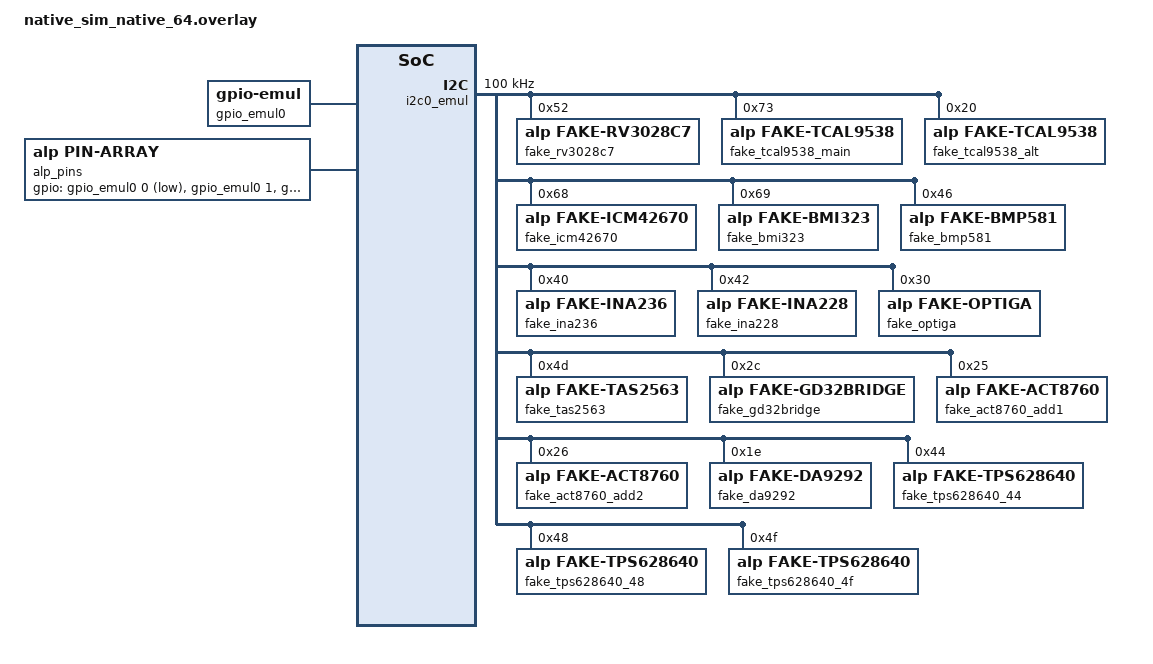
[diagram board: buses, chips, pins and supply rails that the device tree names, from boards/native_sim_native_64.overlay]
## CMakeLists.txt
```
# SPDX-License-Identifier: Apache-2.0

cmake_minimum_required(VERSION 3.20)

find_package(Zephyr REQUIRED HINTS $ENV{ZEPHYR_BASE})
project(alp_sdk_chips_test LANGUAGES C)

# da9292_internal.h (chips/da9292/) is deliberately NOT installed / not
# part of <alp/chips/da9292.h>'s public surface -- it exists only so
# test_power.c can directly exercise da9292_poll_budget_step(), the
# #757 poll-budget boundary logic the I2C test double's address-keyed
# (not per-register) canned-response model can't reach end-to-end.
#
# bme280_internal.h (chips/bme280/) is the same pattern -- it exists
# only so test_sensors.c can directly exercise bme280_unpack_h4_h5(),
# the #797 H4/H5 shared-nibble unpack the disabled i2c-emul fake can't
# reach (see the fake-fixtures note below).
#
# bmp581_verdict.h (examples/aen/aen-evk-demo/src/) is the pure BMP581
# health-verdict logic pulled out of that example's main.c (#2035) so
# test_sensors.c can exercise it here -- main.c itself only builds
# against the real E1M-AEN801 board target.
#
# cc3501e_link_verdict.h (examples/aen/aen-evk-demo/src/) is the same
# example's GET_VERSION link verdict, pulled out for the same reason
# (#2035) so test_cc3501e.c can exercise it here.
#
# sound_verdict.h (examples/aen/aen-evk-demo/src/) is the same example's
# Phase 11 sound-out/PDM-in energy-correlation verdict, pulled out for the
# same reason (#2037) so test_sound_verdict.c can exercise it here.
#
# ioexp_verdict.h (examples/aen/aen-evk-demo/src/) is the same example's
# Phase 4 I/O-expander polarity round-trip verdict, pulled out for the
# same reason (#2098 review follow-up) so test_ioexp_verdict.c can
# exercise it here.
#
# amp_fault_verdict.h (examples/aen/aen-evk-demo/src/) is the same
# example's Phase 11 AMP_FAULT raw-pin mapping, pulled out for the same
# reason (#2097 review follow-up) so test_audio.c can exercise it here.
#
# range_policy.h (examples/v2n/v2n-power-monitor/src/) is that example's
# INA228 auto-range decision, a pure function kept in a header so
# test_ina228.c can exercise it here without the Linux-only example main.c.
#
# hw_rev_verdict.h (examples/aen/aen-evk-demo/src/) is the same example's
# Phase 11 r1/r2 IO8-safety gate, pulled out for the same reason (#2138) so
# test_hw_rev_verdict.c can exercise it here against
# alp_hw_info_classify_manifest() (hw_info_manifest.h, already reachable
# app-wide via zephyr/CMakeLists.txt's zephyr_include_directories(src/common)
# -- the same internal header tests/zephyr/hw_info/src/main.c uses).
target_include_directories(app PRIVATE
    ${CMAKE_CURRENT_SOURCE_DIR}/../../../chips/da9292
    ${CMAKE_CURRENT_SOURCE_DIR}/../../../chips/bme280
    ${CMAKE_CURRENT_SOURCE_DIR}/../../../examples/aen/aen-evk-demo/src
    ${CMAKE_CURRENT_SOURCE_DIR}/../../../examples/v2n/v2n-power-monitor/src)

target_sources(app PRIVATE
    src/main.c
    src/test_accelerators.c
    src/test_audio.c
    src/test_blocks.c
    src/test_cameras.c
    src/test_cc3501e.c
    src/test_connectivity.c
    src/test_core_surfaces.c
    src/test_displays.c
    src/test_gd32_bridge.c
    src/test_industrial.c
    src/test_industrial_drivers.c
    src/test_platform_ics.c
    src/test_rv3028c7_wake.c
    src/test_ina228.c
    src/test_power.c
    src/test_security.c
    src/test_sensors.c
    src/test_sound_verdict.c
    src/test_ioexp_verdict.c
    src/test_hw_rev_verdict.c
)

# Fake i2c-emul fixtures (fake_lsm6dso / fake_ssd1306 / fake_bme280)
# are compiled out by maintainer decision (commit 4b0b33d5): driver
# register-protocol validation happens on real silicon via
# examples/v2n/v2n-brd-i2c-bringup, not against these doubles (see
# CHANGELOG.md, "Removed -- chips: fake-based register tests"). The
# fake-using ZTESTs stay in tree but are gated on
# DT_NODE_EXISTS(DT_NODELABEL(fake_lsm6dso)) so they compile to
# no-ops while the fake_* nodes below stay commented out.
#
# target_sources(app PRIVATE
#     src/fake_lsm6dso.c
#     src/fake_ssd1306.c
#     src/fake_bme280.c
# )

# Fake i2c-emul fixtures for the 2026-09 chip-driver session's new
# register-protocol coverage -- these stay ACTIVE (their overlay DT
# nodes are NOT commented out): there is no real-silicon substitute
# test for rv3028c7 / tcal9538 / icm42670 / bmi323 / bmp581 / ina236 /
# tas2563 yet, unlike the three chips retired above, and the act8760 /
# da9292 / tps628640 fakes guard the PMIC write paths (a wrong write
# there can drop a live rail).  Do not fold these into the dormant
# block above -- see each fake_*.c file header for the
# protocol it models.
target_sources(app PRIVATE
    src/fake_rv3028c7.c
    src/fake_tcal9538.c
    src/fake_icm42670.c
    src/fake_bmi323.c
    src/fake_bmp581.c
    src/fake_ina236.c
    src/fake_ina228.c
    src/fake_optiga.c
    src/fake_tas2563.c
    src/fake_gd32bridge.c
    src/fake_act8760.c
    src/fake_da9292.c
    src/fake_tps628640.c
)

# test_industrial_drivers.c intercepts the GPIO/PWM/SPI calls the motor and
# thermocouple drivers make so it can assert their order and values.
zephyr_link_libraries(
    -Wl,--wrap=alp_gpio_write
    -Wl,--wrap=alp_pwm_set_duty
    -Wl,--wrap=alp_spi_transceive)
```

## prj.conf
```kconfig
# SPDX-License-Identifier: Apache-2.0

CONFIG_ZTEST=y
CONFIG_ALP_SDK=y

# Chip drivers under test — every chip that ships a *_init in main.c
# must be enabled here, otherwise the native_sim link fails with
# "undefined reference to <chip>_init".  Order roughly matches the
# §D batches in src/main.c so it's easy to keep in sync.

# v0.1..v0.4 baseline chips.
CONFIG_ALP_SDK_CHIP_LSM6DSO=y
CONFIG_ALP_SDK_CHIP_SSD1306=y
CONFIG_ALP_SDK_BLOCK_BUTTON_LED=y  # SDK-level block helper (alp_*); see blocks/README.md
CONFIG_ALP_SDK_CHIP_BME280=y
CONFIG_ALP_SDK_CHIP_LIS2DW12=y
CONFIG_ALP_SDK_CHIP_SSD1331=y
CONFIG_ALP_SDK_CHIP_OV5640=y
CONFIG_ALP_SDK_BLOCK_PDM_MIC=y  # SDK-level block helper (alp_*); see blocks/README.md
CONFIG_ALP_SDK_CHIP_ICM42670=y
CONFIG_ALP_SDK_CHIP_BMI323=y
CONFIG_ALP_SDK_CHIP_BMP581=y
CONFIG_ALP_SDK_CHIP_GD32G553=y
CONFIG_ALP_SDK_CHIP_RTL8211FDI=y
CONFIG_ALP_SDK_CHIP_CLK_5L35023B=y
CONFIG_ALP_SDK_CHIP_MURATA_LBEE5HY2FY=y
CONFIG_ALP_SDK_CHIP_DEEPX_DXM1=y
CONFIG_ALP_SDK_CHIP_PI3DBS12212=y
CONFIG_ALP_SDK_CHIP_GD32_SWD=y
CONFIG_ALP_SDK_CHIP_ACT8760=y
CONFIG_ALP_SDK_CHIP_DA9292=y
CONFIG_ALP_SDK_CHIP_TPS628640=y
CONFIG_ALP_SDK_CHIP_RV3028C7=y
CONFIG_ALP_SDK_CHIP_TMP112=y
CONFIG_ALP_SDK_CHIP_INA236=y
CONFIG_ALP_SDK_CHIP_INA228=y
CONFIG_ALP_SDK_CHIP_EEPROM_24C128=y
CONFIG_ALP_SDK_CHIP_TCAL9538=y
CONFIG_ALP_SDK_CHIP_OPTIGA_TRUST_M=y
CONFIG_ALP_SDK_CHIP_CAM_MUX_PI3WVR626=y
CONFIG_ALP_SDK_CHIP_CC3501E=y
CONFIG_ALP_SDK_CHIP_TAS2563=y

# v0.5 §D.AI batch — vision / display / accelerator chips.
CONFIG_ALP_SDK_CHIP_OV2640=y
CONFIG_ALP_SDK_CHIP_OV5645=y
CONFIG_ALP_SDK_CHIP_OV7670=y
CONFIG_ALP_SDK_CHIP_OV9281=y
CONFIG_ALP_SDK_CHIP_AR0234=y
CONFIG_ALP_SDK_CHIP_IMX219=y
CONFIG_ALP_SDK_CHIP_IMX477=y
CONFIG_ALP_SDK_CHIP_GC2145=y
CONFIG_ALP_SDK_CHIP_TI_DS90UB953_954=y
CONFIG_ALP_SDK_CHIP_MAXIM_MAX9295_9296=y
CONFIG_ALP_SDK_CHIP_ST7789=y
CONFIG_ALP_SDK_CHIP_ILI9341=y
CONFIG_ALP_SDK_CHIP_ILI9488=y
CONFIG_ALP_SDK_CHIP_RA8875=y
CONFIG_ALP_SDK_CHIP_SH1106=y
CONFIG_ALP_SDK_CHIP_IL3820=y
CONFIG_ALP_SDK_CHIP_GDEW0154T8=y
CONFIG_ALP_SDK_CHIP_HAILO_8L=y

# v0.5 §D.industrial batch — industrial sensing / control chips.
CONFIG_ALP_SDK_CHIP_BMP390=y
CONFIG_ALP_SDK_CHIP_MS5611=y
CONFIG_ALP_SDK_CHIP_LPS22HB=y
CONFIG_ALP_SDK_CHIP_VL53L1X=y
CONFIG_ALP_SDK_CHIP_VL53L5CX=y
CONFIG_ALP_SDK_CHIP_A02YYUW=y
CONFIG_ALP_SDK_CHIP_DRV8833=y
CONFIG_ALP_SDK_CHIP_DRV8825=y
CONFIG_ALP_SDK_CHIP_TMC2209=y
CONFIG_ALP_SDK_CHIP_A4988=y
CONFIG_ALP_SDK_CHIP_AS5048A_B=y
CONFIG_ALP_SDK_CHIP_MT6701=y
CONFIG_ALP_SDK_CHIP_HX711=y
CONFIG_ALP_SDK_CHIP_MAX31855=y
CONFIG_ALP_SDK_CHIP_MAX31865=y
CONFIG_ALP_SDK_CHIP_TSL2591=y
CONFIG_ALP_SDK_CHIP_QMC5883L=y
CONFIG_ALP_SDK_CHIP_VEML7700=y

# v0.5 §D.iot batch — IoT / connectivity chips.
CONFIG_ALP_SDK_CHIP_QUECTEL_BG95=y
CONFIG_ALP_SDK_CHIP_QUECTEL_BG77=y
CONFIG_ALP_SDK_CHIP_UBLOX_SARA_R5=y
CONFIG_ALP_SDK_CHIP_SEMTECH_SX1262=y
CONFIG_ALP_SDK_CHIP_SEMTECH_SX1276=y
CONFIG_ALP_SDK_CHIP_UBLOX_NEO_M9N=y
CONFIG_ALP_SDK_CHIP_UBLOX_MAX_M10S=y
CONFIG_ALP_SDK_CHIP_ATGM336H=y
CONFIG_ALP_SDK_CHIP_ATECC608B=y

# v0.5 §D.audio batch — audio chips.
CONFIG_ALP_SDK_CHIP_ICS_43434=y
CONFIG_ALP_SDK_CHIP_INMP441=y
CONFIG_ALP_SDK_CHIP_WM8960=y
CONFIG_ALP_SDK_CHIP_TLV320AIC3204=y
CONFIG_ALP_SDK_CHIP_MAX98357A=y
CONFIG_ALP_SDK_CHIP_ES8388=y

# Subsystems the chip drivers depend on transitively via
# <alp/peripheral.h> + <alp/uart.h> + <alp/pwm.h>.
CONFIG_GPIO=y
CONFIG_I2C=y
CONFIG_SPI=y
CONFIG_SERIAL=y       # UART-backed cellular / GPS / motor-driver chips
CONFIG_PWM=y          # motor-driver chips (a4988, drv8825, drv8833)

# Emulated controllers — let the test run under native_sim.
CONFIG_EMUL=y
CONFIG_GPIO_EMUL=y
CONFIG_I2C_EMUL=y
CONFIG_SPI_EMUL=y

CONFIG_LOG=y
```

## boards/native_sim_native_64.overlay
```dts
/*
 * Copyright 2026 Alp Lab AB
 * SPDX-License-Identifier: Apache-2.0
 *
 * Overlay for the alp-sdk chips ztest under native_sim_64.
 *
 * Wires one emulated I2C bus (alp_i2c0) for the lsm6dso / ssd1306
 * smoke tests, and an emulated GPIO controller backing two pins
 * for the button_led helper.
 */

#include <zephyr/dt-bindings/gpio/gpio.h>
#include <zephyr/dt-bindings/i2c/i2c.h>

/ {
    aliases {
        alp-i2c0  = &i2c0_emul;
    };

    /* native_sim's /soc has #address-cells=2, #size-cells=1. */
    soc {
        i2c0_emul: i2c@100 {
            compatible = "zephyr,i2c-emul-controller";
            status = "okay";
            reg = <0 0x100 4>;
            #address-cells = <1>;
            #size-cells = <0>;
            clock-frequency = <I2C_BITRATE_STANDARD>;

            /* Fake i2c-emul targets at chip-default addresses stay
             * commented out by maintainer decision (commit 4b0b33d5):
             * chip register-protocol validation happens on real
             * silicon via examples/v2n/v2n-brd-i2c-bringup, not against
             * these doubles (see CHANGELOG.md, "Removed -- chips:
             * fake-based register tests").  The fake-using ZTESTs are
             * gated on DT_NODE_EXISTS so they no-op cleanly while the
             * fake_* nodes below stay commented out.
             *
             * fake_lsm6dso: fake_lsm6dso@6a {
             *     compatible = "alp,fake-lsm6dso";
             *     reg = <0x6a>;
             * };
             * fake_ssd1306: fake_ssd1306@3c {
             *     compatible = "alp,fake-ssd1306";
             *     reg = <0x3c>;
             * };
             * fake_bme280: fake_bme280@76 {
             *     compatible = "alp,fake-bme280";
             *     reg = <0x76>;
             * };
             */

            /* Fake targets for the 2026-09 chip-driver session's new
             * register-protocol coverage (rv3028c7, tcal9538,
             * icm42670, bmi323, bmp581, ina236, tas2563) -- unlike the
             * lsm6dso/ssd1306/bme280 fakes above, these stay ACTIVE:
             * there is no real-silicon substitute test for these
             * functions yet (see tests/zephyr/chips/src/fake_*.c file
             * headers). */
            fake_rv3028c7: fake_rv3028c7@52 {
                compatible = "alp,fake-rv3028c7";
                reg = <0x52>;
            };
            fake_tcal9538_main: fake_tcal9538_main@73 {
                compatible = "alp,fake-tcal9538";
                reg = <0x73>;
            };
            fake_tcal9538_alt: fake_tcal9538_alt@20 {
                compatible = "alp,fake-tcal9538";
                reg = <0x20>;
            };
            fake_icm42670: fake_icm42670@68 {
                compatible = "alp,fake-icm42670";
                reg = <0x68>;
            };
            fake_bmi323: fake_bmi323@69 {
                compatible = "alp,fake-bmi323";
                reg = <0x69>;
            };
            fake_bmp581: fake_bmp581@46 {
                compatible = "alp,fake-bmp581";
                reg = <0x46>;
            };
            fake_ina236: fake_ina236@40 {
                compatible = "alp,fake-ina236";
                reg = <0x40>;
            };
            /* 0x42 = the E1M-X EVK's INA228 (A1 = GND, A0 = SDA). */
            fake_ina228: fake_ina228@42 {
                compatible = "alp,fake-ina228";
                reg = <0x42>;
            };
            /* 0x30 = OPTIGA Trust M default address; NACKs while asleep. */
            fake_optiga: fake_optiga@30 {
                compatible = "alp,fake-optiga";
                reg = <0x30>;
            };
            /* 0x4D = the AD0/SPICLK "10k to GND" strap (SLASET3D
             * Table 7-3, p.30), which is U27 on the E1M-X EVK.  One
             * instance is enough: nothing this driver does is
             * per-instance stateful across two amps. */
            fake_tas2563: fake_tas2563@4d {
                compatible = "alp,fake-tas2563";
                reg = <0x4d>;
            };
            /* GD32G553 supervisor-MCU bridge fake -- PING/GET_VERSION
             * only, driving gd32g553_init()'s OTA-trial retry ladder
             * (chips/gd32g553/gd32g553.c). */
            fake_gd32bridge: fake_gd32bridge@2c {
                compatible = "alp,fake-gd32bridge";
                reg = <0x2c>;
            };
            /* V2N power tree (BRD_I2C on silicon): ACT88760 ADD1/ADD2
             * share one register image; DA9292 at its OTP address; the
             * V2N-M1 TPS628640 bucks except 0x4D (fake_tas2563 above
             * holds it). */
            fake_act8760_add1: fake_act8760@25 {
                compatible = "alp,fake-act8760";
                reg = <0x25>;
            };
            fake_act8760_add2: fake_act8760@26 {
                compatible = "alp,fake-act8760";
                reg = <0x26>;
            };
            fake_da9292: fake_da9292@1e {
                compatible = "alp,fake-da9292";
                reg = <0x1e>;
            };
            fake_tps628640_44: fake_tps628640@44 {
                compatible = "alp,fake-tps628640";
                reg = <0x44>;
            };
            fake_tps628640_48: fake_tps628640@48 {
                compatible = "alp,fake-tps628640";
                reg = <0x48>;
            };
            fake_tps628640_4f: fake_tps628640@4f {
                compatible = "alp,fake-tps628640";
                reg = <0x4f>;
            };
        };
    };

    gpio_emul0: gpio_emul0 {
        compatible = "zephyr,gpio-emul";
        status = "okay";
        gpio-controller;
        rising-edge;
        falling-edge;
        #gpio-cells = <2>;
        ngpios = <8>;
    };

    /* Pin ids passed to alp_gpio_open(): 0 = button (with pull-up),
     * 1 = LED, 2 = TAS2563 IRQ_N (AMP.FAULT), 3 = TAS2563 SD_N
     * (AMP.ENABLE).  Pins 2 and 3 are declared ACTIVE_HIGH so the
     * test drives raw levels and the DRIVER owns the active-low
     * interpretation of IRQ_N -- inverting in the overlay instead
     * would hide exactly the polarity bug the test is there to
     * catch.  Pins 4..6 = the DA9292 CH2 sequence's DEEPX_PWR_EN_REQ
     * (P65, input), DEEPX_CORE_0P75_EN (P64) and M1_RESET (PA6). */
    alp_pins: alp-pins {
        compatible = "alp,pin-array";
        gpios = <&gpio_emul0 0 (GPIO_ACTIVE_LOW | GPIO_PULL_UP)>,
                <&gpio_emul0 1 GPIO_ACTIVE_HIGH>,
                <&gpio_emul0 2 GPIO_ACTIVE_HIGH>,
                <&gpio_emul0 3 GPIO_ACTIVE_HIGH>,
                <&gpio_emul0 4 GPIO_ACTIVE_HIGH>,
                <&gpio_emul0 5 GPIO_ACTIVE_HIGH>,
                <&gpio_emul0 6 GPIO_ACTIVE_HIGH>;
    };
};
```

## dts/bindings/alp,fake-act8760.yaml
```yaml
# Copyright 2026 Alp Lab AB
# SPDX-License-Identifier: Apache-2.0
#
# Fake ACT8760 emul target.  Lives in this test only.

description: |
  Fake Qorvo ACT88760 i2c-emul target used by the alp-sdk chips ztest.
  Two instances (ADD1 0x25, ADD2 0x26) share one two-page register
  image so the ztest can assert the driver's guarded write paths.

compatible: "alp,fake-act8760"

include: i2c-device.yaml
```

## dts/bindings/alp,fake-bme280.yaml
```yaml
# Copyright 2026 Alp Lab AB
# SPDX-License-Identifier: Apache-2.0
#
# Fake BME280 emul target.  Lives in this test only.

description: |
  Fake Bosch BME280 i2c-emul target used by the alp-sdk chips
  ztest.  Pre-populates CHIP_ID = 0x60, a synthetic calibration
  block, and a fixed raw conversion result so the test can
  exercise bme280_read_raw and bme280_compensate without a real
  chip.

compatible: "alp,fake-bme280"

include: i2c-device.yaml
```

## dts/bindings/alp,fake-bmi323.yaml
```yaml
# Copyright 2026 Alp Lab AB
# SPDX-License-Identifier: Apache-2.0
#
# Fake BMI323 emul target.  Lives in this test only.

description: |
  Fake Bosch BMI323 i2c-emul target used by the alp-sdk chips ztest.
  Models the part's 16-bit-per-register, 2-dummy-byte-read wire
  protocol; pre-populates CHIP_ID (register 0x00, low byte) = 0x43
  so bmi323_init()'s soft-reset + ID probe succeeds.

compatible: "alp,fake-bmi323"

include: i2c-device.yaml
```

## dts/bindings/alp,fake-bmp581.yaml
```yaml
# Copyright 2026 Alp Lab AB
# SPDX-License-Identifier: Apache-2.0
#
# Fake BMP581 emul target.  Lives in this test only.

description: |
  Fake Bosch BMP581 i2c-emul target used by the alp-sdk chips ztest.
  Pre-populates CHIP_ID (register 0x01) = 0x50 so bmp581_init()
  succeeds, and echoes register writes back on subsequent reads.

compatible: "alp,fake-bmp581"

include: i2c-device.yaml
```

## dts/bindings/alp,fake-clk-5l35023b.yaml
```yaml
description: Fake Renesas 5L35023B clock generator for i2c-emul chip tests.
compatible: "alp,fake-clk-5l35023b"
include: i2c-device.yaml
```

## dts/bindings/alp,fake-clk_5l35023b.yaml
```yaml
# Copyright 2026 Alp Lab AB
# SPDX-License-Identifier: Apache-2.0
#
# Fake Renesas/IDT 5L35023B VersaClock emul target.  Lives in this test only.

description: |
  Fake Renesas/IDT 5L35023B VersaClock i2c-emul target used by the alp-sdk
  chips ztest to verify clk_5l35023b_register_dump() issues one
  single-byte read transaction per register.

compatible: "alp,fake-clk_5l35023b"

include: i2c-device.yaml
```

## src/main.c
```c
/*
 * Copyright 2026 Alp Lab AB
 * SPDX-License-Identifier: Apache-2.0
 *
 * Suite root for the chip driver smoke tests (lsm6dso, ssd1306, and the
 * ~90 chips/blocks that followed).  Test cases live in the sibling
 * test_*.c translation units, grouped by device class -- sensors,
 * displays, cameras, accelerators, power, connectivity, security, the
 * GD32 bridge, misc platform ICs, cc3501e, audio, industrial, and
 * blocks.  Every ZTEST(alp_chips, ...) case across those TUs links into
 * the single suite defined here via ztest's linker-section
 * registration; do not define a second ZTEST_SUITE(alp_chips, ...)
 * anywhere else in this test.
 */

#include <zephyr/ztest.h>

ZTEST_SUITE(alp_chips, NULL, NULL, NULL, NULL, NULL);
```

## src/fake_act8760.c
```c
/*
 * Copyright 2026 Alp Lab AB
 * SPDX-License-Identifier: Apache-2.0
 *
 * Fake Qorvo ACT88760 i2c-emul target.  The chip answers on two slave
 * addresses (ADD1 0x25 = MSTR + GPIO + Buck1..6, ADD2 0x26 = Buck7 +
 * LDO1..6); the overlay wires one emul node per address and both share
 * ONE two-page register image here, indexed [page][reg].  Plain byte
 * echo plus the two clear-on-read GPIO toggle registers (ADD1 0x04, and
 * the GPIO9..11 toggle bits 6/3/0 of ADD1 0x2B), a per-register write
 * counter and an ordered write log -- enough for the ztest to assert
 * that a guarded call wrote exactly one byte, or none at all.
 */

#define DT_DRV_COMPAT alp_fake_act8760

#include <errno.h>
#include <stdbool.h>
#include <string.h>

#include <zephyr/device.h>
#include <zephyr/devicetree.h>
#include <zephyr/drivers/emul.h>
#include <zephyr/drivers/i2c.h>
#include <zephyr/drivers/i2c_emul.h>

#include "fakes.h"

#define ADD1_ADDR 0x25u

/* One instance's only state: which page of the shared image it is. */
struct fake_act8760_inst {
	uint8_t page;
};

static uint8_t                   g_regs[2][256];
static uint32_t                  g_write_count[2][256];
static struct fake_act8760_write g_log[FAKE_ACT8760_LOG_MAX];
static size_t                    g_log_len;

static bool g_auto_pok;

/* Tile status register for an ON register, or -1: bucks sit at ON - 4
 * (page 0 tiles 0x40..0xE0, Buck7 at page 1 0x00); LDOs at ON - 2. */
static int status_for_on(uint8_t page, uint8_t reg)
{
	if (page == 0u) return (reg >= 0x44u && (reg & 0x1Fu) == 0x04u) ? reg - 4 : -1;
	if (reg == 0x04u) return 0x00;
	switch (reg) {
	case 0x22u:
	case 0x28u:
	case 0x42u:
	case 0x48u:
	case 0x62u:
	case 0x68u:
		return reg - 2;
	default:
		return -1;
	}
}

static void record_write(uint8_t page, uint8_t reg, uint8_t val)
{
	g_regs[page][reg] = val;
	int st            = status_for_on(page, reg);
	if (g_auto_pok && st >= 0 && (val & 0x80u) != 0u) g_regs[page][st] |= 0x80u;
	g_write_count[page][reg]++;
	if (g_log_len < FAKE_ACT8760_LOG_MAX) {
		g_log[g_log_len++] = (struct fake_act8760_write){ page, reg, val };
	}
}

static uint8_t read_reg(uint8_t page, uint8_t reg)
{
	uint8_t v = g_regs[page][reg];
	if (page == 0u && reg == 0x04u) g_regs[0][0x04] = 0u;               /* GPIO1..8 toggles */
	if (page == 0u && reg == 0x2Bu) g_regs[0][0x2B] &= (uint8_t)~0x49u; /* GPIO9..11 */
	return v;
}

static int
fake_act8760_transfer(const struct emul *target, struct i2c_msg *msgs, int num_msgs, int addr)
{
	(void)addr;
	const uint8_t page = ((const struct fake_act8760_inst *)target->data)->page;

	if (num_msgs == 1 && (msgs[0].flags & I2C_MSG_READ) == 0) {
		if (msgs[0].len < 2) return -EIO;
		for (uint32_t i = 1; i < msgs[0].len; i++) {
			record_write(page, (uint8_t)(msgs[0].buf[0] + i - 1u), msgs[0].buf[i]);
		}
		return 0;
	}
	if (num_msgs == 2 && (msgs[0].flags & I2C_MSG_READ) == 0 &&
	    (msgs[1].flags & I2C_MSG_READ) != 0) {
		if (msgs[0].len < 1) return -EIO;
		for (uint32_t i = 0; i < msgs[1].len; i++) {
			msgs[1].buf[i] = read_reg(page, (uint8_t)(msgs[0].buf[0] + i));
		}
		return 0;
	}
	return -EIO;
}

static const struct i2c_emul_api fake_act8760_api = {
	.transfer = fake_act8760_transfer,
};

static int fake_act8760_init(const struct emul *target, const struct device *parent)
{
	(void)target;
	(void)parent;
	fake_act8760_reset();
	return 0;
}

/* See fake_rv3028c7.c's comment above its FAKE_RV3028C7_DEFINE for
 * why this bare placeholder device is needed -- one per instance. */
#define FAKE_ACT8760_DEFINE(n) \
	static struct fake_act8760_inst fake_act8760_inst_##n = { \
		.page = DT_INST_REG_ADDR(n) == ADD1_ADDR ? 0u : 1u, \
	}; \
	DEVICE_DT_INST_DEFINE(n, NULL, NULL, NULL, NULL, POST_KERNEL, 90, NULL); \
	EMUL_DT_INST_DEFINE( \
	    n, fake_act8760_init, &fake_act8760_inst_##n, NULL, &fake_act8760_api, NULL);

DT_INST_FOREACH_STATUS_OKAY(FAKE_ACT8760_DEFINE)

/* ------------------------------------------------------------------ */
/* Test-side inspection API                                             */
/* ------------------------------------------------------------------ */

uint8_t fake_act8760_get_reg(uint8_t page, uint8_t reg)
{
	return g_regs[page & 1u][reg];
}

void fake_act8760_set_reg(uint8_t page, uint8_t reg, uint8_t val)
{
	g_regs[page & 1u][reg] = val;
}

uint32_t fake_act8760_write_count(uint8_t page, uint8_t reg)
{
	return g_write_count[page & 1u][reg];
}

size_t fake_act8760_log_len(void)
{
	return g_log_len;
}

const struct fake_act8760_write *fake_act8760_log(size_t i)
{
	return i < g_log_len ? &g_log[i] : NULL;
}

void fake_act8760_reset(void)
{
	memset(g_regs, 0, sizeof g_regs);
	memset(g_write_count, 0, sizeof g_write_count);
	g_log_len  = 0;
	g_auto_pok = false;
}

void fake_act8760_set_auto_pok(bool on)
{
	g_auto_pok = on;
}
```

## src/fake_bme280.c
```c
/*
 * Copyright 2026 Alp Lab AB
 * SPDX-License-Identifier: Apache-2.0
 *
 * Fake BME280 i2c-emul target.  Pre-populates CHIP_ID = 0x60 and
 * a synthetic but datasheet-shaped calibration block + a fixed raw
 * conversion result so the chips ztest can exercise
 * bme280_read_raw's bit-arithmetic and bme280_compensate's
 * coefficient-application path.
 *
 * The synthetic calibration values are chosen so the temperature
 * leg's compensation roundtrip stays inside the chip's working
 * range (-40 °C to +85 °C) for a wide span of raw inputs — small
 * enough that hand-arithmetic is tractable, but large enough to
 * exercise both signed and unsigned coefficient paths.
 */

#define DT_DRV_COMPAT alp_fake_bme280

#include <errno.h>
#include <string.h>

#include <zephyr/devicetree.h>
#include <zephyr/drivers/emul.h>
#include <zephyr/drivers/i2c.h>
#include <zephyr/drivers/i2c_emul.h>

#include "fakes.h"

#define REG_CHIP_ID   0xD0
#define REG_CALIB_00  0x88
#define REG_CALIB_25  0xA1
#define REG_CALIB_26  0xE1
#define REG_PRESS_MSB 0xF7

struct fake_bme280_data {
	uint8_t regs[256];
};

static struct fake_bme280_data *g_fake_bme280;

/* Calibration coefficients are the canonical example from
 * BST-BME280-DS002 v1.6 §4.2.2.  Pairing them with the example raw
 * conversion below produces a known-good compensation result the
 * ztest can assert directly:  T = 25.08 °C, P ≈ 100653 Pa. */
static const uint8_t calib_block_1[24] = {
	0x70, 0x6B, /* T1 =  27504 (u16) */
	0x43, 0x67, /* T2 =  26435 (i16) */
	0x18, 0xFC, /* T3 =  -1000 (i16) */
	0x7D, 0x8E, /* P1 =  36477 (u16) */
	0x43, 0xD6, /* P2 = -10685 (i16) */
	0xD0, 0x0B, /* P3 =   3024 (i16) */
	0x27, 0x0B, /* P4 =   2855 (i16) */
	0x8C, 0x00, /* P5 =    140 (i16) */
	0xF9, 0xFF, /* P6 =     -7 (i16) */
	0x8C, 0x3C, /* P7 =  15500 (i16) */
	0xF8, 0xC6, /* P8 = -14600 (i16) */
	0x70, 0x17, /* P9 =   6000 (i16) */
};

static const uint8_t calib_h1         = 0x4B; /* H1 = 75 */
static const uint8_t calib_block_2[7] = {
	0x6B, 0x01, /* H2 (i16 LE) = 363 */
	0x00,       /* H3 = 0 */
	0x13, 0x05, /* H4 (12-bit signed: E4 high8 | E5 low4)  */
	0x1E,       /* H5 (12-bit signed: E6 high8 | E5 high4) */
	0x1E,       /* H6 (i8) = 30 */
};

/* Datasheet example raw conversion: T_raw = 519888, P_raw = 415148.
 * Each MSB-first across 3 bytes. */
static const uint8_t raw_block[8] = {
	/* Pressure: 415148 = 0x655AC → MSB-first 20-bit packs as
     * 0x65 0x5A 0xC0 (low 4 bits unused). */
	0x65,
	0x5A,
	0xC0,
	/* Temperature: 519888 = 0x7EED0 → 0x7E 0xED 0x00. */
	0x7E,
	0xED,
	0x00,
	/* Humidity: 0x6FF0 (synthetic; no datasheet example). */
	0x6F,
	0xF0,
};

static void seed_defaults(struct fake_bme280_data *d)
{
	memset(d->regs, 0, sizeof d->regs);
	d->regs[REG_CHIP_ID] = 0x60;
	memcpy(&d->regs[REG_CALIB_00], calib_block_1, sizeof calib_block_1);
	d->regs[REG_CALIB_25] = calib_h1;
	memcpy(&d->regs[REG_CALIB_26], calib_block_2, sizeof calib_block_2);
	memcpy(&d->regs[REG_PRESS_MSB], raw_block, sizeof raw_block);
}

static int
fake_bme280_transfer(const struct emul *target, struct i2c_msg *msgs, int num_msgs, int addr)
{
	(void)addr;
	struct fake_bme280_data *d = target->data;

	if (num_msgs == 1 && (msgs[0].flags & I2C_MSG_READ) == 0) {
		if (msgs[0].len < 1) return -EIO;
		const uint8_t reg0 = msgs[0].buf[0];
		for (uint32_t i = 1; i < msgs[0].len; i++) {
			d->regs[(uint8_t)(reg0 + i - 1)] = msgs[0].buf[i];
		}
		return 0;
	}
	if (num_msgs == 2 && (msgs[0].flags & I2C_MSG_READ) == 0 &&
	    (msgs[1].flags & I2C_MSG_READ) != 0) {
		if (msgs[0].len < 1) return -EIO;
		const uint8_t reg0 = msgs[0].buf[0];
		for (uint32_t i = 0; i < msgs[1].len; i++) {
			msgs[1].buf[i] = d->regs[(uint8_t)(reg0 + i)];
		}
		return 0;
	}
	return -EIO;
}

static const struct i2c_emul_api fake_bme280_api = {
	.transfer = fake_bme280_transfer,
};

static int fake_bme280_init(const struct emul *target, const struct device *parent)
{
	(void)parent;
	struct fake_bme280_data *d = target->data;
	g_fake_bme280              = d;
	seed_defaults(d);
	return 0;
}

#define FAKE_BME280_DEFINE(n) \
	static struct fake_bme280_data fake_bme280_data_##n; \
	EMUL_DT_INST_DEFINE(n, fake_bme280_init, &fake_bme280_data_##n, NULL, &fake_bme280_api, NULL);

DT_INST_FOREACH_STATUS_OKAY(FAKE_BME280_DEFINE)

/* ------------------------------------------------------------------ */
/* Test-side inspection API                                             */
/* ------------------------------------------------------------------ */

uint8_t fake_bme280_get_reg(uint8_t reg)
{
	return g_fake_bme280 ? g_fake_bme280->regs[reg] : 0u;
}

void fake_bme280_set_reg(uint8_t reg, uint8_t val)
{
	if (g_fake_bme280) g_fake_bme280->regs[reg] = val;
}

void fake_bme280_reset(void)
{
	if (g_fake_bme280) seed_defaults(g_fake_bme280);
}
```

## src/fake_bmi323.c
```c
/*
 * Copyright 2026 Alp Lab AB
 * SPDX-License-Identifier: Apache-2.0
 *
 * Fake Bosch BMI323 i2c-emul target.  Unlike the other fakes in this
 * directory, the BMI323 wire protocol is 16-bit-per-register (LSB
 * first) with a 2-byte dummy prefix on every read (see chips/bmi323/
 * bmi323.c's file header) -- so the register file here is
 * `uint16_t[256]`, not a raw byte array, and the transfer function
 * models exactly those two shapes: a 3-byte write `[reg, lo, hi]`,
 * and a `[reg]`-then-`(2 + words*2)`-byte read.  Pre-populated with
 * CHIP_ID (register 0x00, low byte) = 0x43 and STATUS (register
 * 0x02) bit0 (por_detected) = 1 -- the "just reset" state -- so
 * bmi323_init()'s soft-reset + device-initialisation status test +
 * ID probe (chips/bmi323/bmi323.c) succeeds by default.
 *
 * STATUS also models the datasheet's read/clear behaviour
 * (BST-BMI323-DS000-13 Rev 1.7 p.66: por_detected bit0 / drdy_gyr
 * bit6 / drdy_acc bit7 all clear on read) -- any read that covers
 * register 0x02 zeroes those three bits afterwards.  #2035 shipped
 * because this wasn't modelled: bmi323_init() consumed por_detected
 * and every later reader silently saw 0, and no fake in this suite
 * caught it because none of them cleared anything on read.
 */

#define DT_DRV_COMPAT alp_fake_bmi323

#include <errno.h>
#include <string.h>

#include <zephyr/device.h>
#include <zephyr/devicetree.h>
#include <zephyr/drivers/emul.h>
#include <zephyr/drivers/i2c.h>
#include <zephyr/drivers/i2c_emul.h>

#include "fakes.h"

#define REG_CHIP_ID 0x00
#define REG_STATUS  0x02
/* por_detected (bit0) / drdy_gyr (bit6) / drdy_acc (bit7), the three
 * clear-on-read STATUS bits (BST-BMI323-DS000-13 Rev 1.7 p.66). */
#define STATUS_CLEAR_ON_READ_MASK 0x00C1u

struct fake_bmi323_data {
	uint16_t regs[256];
	uint32_t write_count[256];
};

static struct fake_bmi323_data *g_fake_bmi323;

static void seed_defaults(struct fake_bmi323_data *d)
{
	memset(d->regs, 0, sizeof d->regs);
	memset(d->write_count, 0, sizeof d->write_count);
	d->regs[REG_CHIP_ID] = 0x0043u; /* BMI323_CHIP_ID in the low byte. */
	d->regs[REG_STATUS]  = 0x0001u; /* por_detected -- a fresh reset already happened. */
}

static int
fake_bmi323_transfer(const struct emul *target, struct i2c_msg *msgs, int num_msgs, int addr)
{
	(void)addr;
	struct fake_bmi323_data *d = target->data;

	if (num_msgs == 1 && (msgs[0].flags & I2C_MSG_READ) == 0) {
		/* 16-bit write: [reg, lo, hi]. */
		if (msgs[0].len != 3) return -EIO;
		const uint8_t reg = msgs[0].buf[0];
		d->regs[reg]      = (uint16_t)(msgs[0].buf[1] | ((uint16_t)msgs[0].buf[2] << 8));
		d->write_count[reg]++;
		return 0;
	}
	if (num_msgs == 2 && (msgs[0].flags & I2C_MSG_READ) == 0 &&
	    (msgs[1].flags & I2C_MSG_READ) != 0) {
		/* [reg]; then read 2 dummy bytes + words*2 data bytes. */
		if (msgs[0].len < 1) return -EIO;
		if (msgs[1].len < 2 || (msgs[1].len % 2) != 0) return -EIO;
		const uint8_t reg0  = msgs[0].buf[0];
		const size_t  words = (msgs[1].len - 2) / 2;
		msgs[1].buf[0]      = 0x00; /* dummy prefix */
		msgs[1].buf[1]      = 0x00;
		for (size_t w = 0; w < words; w++) {
			const uint8_t reg          = (uint8_t)(reg0 + w);
			uint16_t      v            = d->regs[reg];
			msgs[1].buf[2 + 2 * w]     = (uint8_t)(v & 0xFFu);
			msgs[1].buf[2 + 2 * w + 1] = (uint8_t)(v >> 8);
			/* Clear-on-read: consume por_detected/drdy_gyr/drdy_acc the
			 * same way real silicon does, so a driver bug that reads
			 * STATUS and forgets to keep the bit (#2035) reddens a test
			 * instead of silently passing. */
			if (reg == REG_STATUS) d->regs[reg] = (uint16_t)(v & ~STATUS_CLEAR_ON_READ_MASK);
		}
		return 0;
	}
	return -EIO;
}

static const struct i2c_emul_api fake_bmi323_api = {
	.transfer = fake_bmi323_transfer,
};

static int fake_bmi323_init(const struct emul *target, const struct device *parent)
{
	(void)parent;
	struct fake_bmi323_data *d = target->data;
	g_fake_bmi323              = d;
	seed_defaults(d);
	return 0;
}

/* See fake_rv3028c7.c's comment above its FAKE_RV3028C7_DEFINE for
 * why this bare placeholder device is needed. */
#define FAKE_BMI323_DEFINE(n) \
	static struct fake_bmi323_data fake_bmi323_data_##n; \
	DEVICE_DT_INST_DEFINE(n, NULL, NULL, NULL, NULL, POST_KERNEL, 90, NULL); \
	EMUL_DT_INST_DEFINE(n, fake_bmi323_init, &fake_bmi323_data_##n, NULL, &fake_bmi323_api, NULL);

DT_INST_FOREACH_STATUS_OKAY(FAKE_BMI323_DEFINE)

/* ------------------------------------------------------------------ */
/* Test-side inspection API                                             */
/* ------------------------------------------------------------------ */

uint16_t fake_bmi323_get_reg(uint8_t reg)
{
	return g_fake_bmi323 ? g_fake_bmi323->regs[reg] : 0u;
}

void fake_bmi323_set_reg(uint8_t reg, uint16_t val)
{
	if (g_fake_bmi323) g_fake_bmi323->regs[reg] = val;
}

uint32_t fake_bmi323_write_count(uint8_t reg)
{
	return g_fake_bmi323 ? g_fake_bmi323->write_count[reg] : 0u;
}

void fake_bmi323_reset(void)
{
	if (g_fake_bmi323) seed_defaults(g_fake_bmi323);
}
```

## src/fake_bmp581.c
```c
/*
 * Copyright 2026 Alp Lab AB
 * SPDX-License-Identifier: Apache-2.0
 *
 * Fake Bosch BMP581 i2c-emul target.  Byte-register echo (same shape
 * as fake_lsm6dso.c) pre-populated with CHIP_ID = 0x50 so
 * bmp581_init() succeeds, plus a per-register write counter so the
 * chips ztest can pin exact register writes for the interrupt-config
 * / data-ready paths without a real chip.
 */

#define DT_DRV_COMPAT alp_fake_bmp581

#include <errno.h>
#include <string.h>

#include <zephyr/device.h>
#include <zephyr/devicetree.h>
#include <zephyr/drivers/emul.h>
#include <zephyr/drivers/i2c.h>
#include <zephyr/drivers/i2c_emul.h>

#include "fakes.h"

#define REG_CHIP_ID 0x01

/* #2035: bmp581_set_sampling() must transition through STANDBY before
 * touching OSR_CONFIG/ODR_CONFIG (BST-BMP581-DS004-13 §4.3/§4.3.8, pp.16,18).
 * write_count alone can't prove ordering (a call that wrote everything in
 * one shot has the same counts as one that staged through STANDBY first),
 * so also keep a bounded write-order log the test can walk. */
#define FAKE_BMP581_LOG_CAP 16

struct fake_bmp581_data {
	uint8_t  regs[256];
	uint32_t write_count[256];
	uint8_t  log_reg[FAKE_BMP581_LOG_CAP];
	uint8_t  log_val[FAKE_BMP581_LOG_CAP];
	uint32_t log_len;
};

static struct fake_bmp581_data *g_fake_bmp581;

static void seed_defaults(struct fake_bmp581_data *d)
{
	memset(d->regs, 0, sizeof d->regs);
	memset(d->write_count, 0, sizeof d->write_count);
	memset(d->log_reg, 0, sizeof d->log_reg);
	memset(d->log_val, 0, sizeof d->log_val);
	d->log_len           = 0;
	d->regs[REG_CHIP_ID] = 0x50u;
}

static int
fake_bmp581_transfer(const struct emul *target, struct i2c_msg *msgs, int num_msgs, int addr)
{
	(void)addr;
	struct fake_bmp581_data *d = target->data;

	if (num_msgs == 1 && (msgs[0].flags & I2C_MSG_READ) == 0) {
		if (msgs[0].len < 1) return -EIO;
		const uint8_t reg0 = msgs[0].buf[0];
		for (uint32_t i = 1; i < msgs[0].len; i++) {
			uint8_t r  = (uint8_t)(reg0 + i - 1);
			d->regs[r] = msgs[0].buf[i];
			d->write_count[r]++;
			if (d->log_len < FAKE_BMP581_LOG_CAP) {
				d->log_reg[d->log_len] = r;
				d->log_val[d->log_len] = msgs[0].buf[i];
				d->log_len++;
			}
		}
		return 0;
	}
	if (num_msgs == 2 && (msgs[0].flags & I2C_MSG_READ) == 0 &&
	    (msgs[1].flags & I2C_MSG_READ) != 0) {
		if (msgs[0].len < 1) return -EIO;
		const uint8_t reg0 = msgs[0].buf[0];
		for (uint32_t i = 0; i < msgs[1].len; i++) {
			msgs[1].buf[i] = d->regs[(uint8_t)(reg0 + i)];
		}
		return 0;
	}
	return -EIO;
}

static const struct i2c_emul_api fake_bmp581_api = {
	.transfer = fake_bmp581_transfer,
};

static int fake_bmp581_init(const struct emul *target, const struct device *parent)
{
	(void)parent;
	struct fake_bmp581_data *d = target->data;
	g_fake_bmp581              = d;
	seed_defaults(d);
	return 0;
}

/* See fake_rv3028c7.c's comment above its FAKE_RV3028C7_DEFINE for
 * why this bare placeholder device is needed. */
#define FAKE_BMP581_DEFINE(n) \
	static struct fake_bmp581_data fake_bmp581_data_##n; \
	DEVICE_DT_INST_DEFINE(n, NULL, NULL, NULL, NULL, POST_KERNEL, 90, NULL); \
	EMUL_DT_INST_DEFINE(n, fake_bmp581_init, &fake_bmp581_data_##n, NULL, &fake_bmp581_api, NULL);

DT_INST_FOREACH_STATUS_OKAY(FAKE_BMP581_DEFINE)

/* ------------------------------------------------------------------ */
/* Test-side inspection API                                             */
/* ------------------------------------------------------------------ */

uint8_t fake_bmp581_get_reg(uint8_t reg)
{
	return g_fake_bmp581 ? g_fake_bmp581->regs[reg] : 0u;
}

void fake_bmp581_set_reg(uint8_t reg, uint8_t val)
{
	if (g_fake_bmp581) g_fake_bmp581->regs[reg] = val;
}

uint32_t fake_bmp581_write_count(uint8_t reg)
{
	return g_fake_bmp581 ? g_fake_bmp581->write_count[reg] : 0u;
}

void fake_bmp581_reset(void)
{
	if (g_fake_bmp581) seed_defaults(g_fake_bmp581);
}

uint32_t fake_bmp581_log_len(void)
{
	return g_fake_bmp581 ? g_fake_bmp581->log_len : 0u;
}

uint8_t fake_bmp581_log_reg(uint32_t idx)
{
	return (g_fake_bmp581 && idx < FAKE_BMP581_LOG_CAP) ? g_fake_bmp581->log_reg[idx] : 0u;
}

uint8_t fake_bmp581_log_val(uint32_t idx)
{
	return (g_fake_bmp581 && idx < FAKE_BMP581_LOG_CAP) ? g_fake_bmp581->log_val[idx] : 0u;
}
```

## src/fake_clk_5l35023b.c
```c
/*
 * Copyright 2026 Alp Lab AB
 * SPDX-License-Identifier: Apache-2.0
 *
 * Fake Renesas/IDT 5L35023B VersaClock i2c-emul target.  A generic
 * byte-addressed register echo (plain write; register-address-then-read),
 * plus a per-transfer log of each READ transaction's length, so the ztest
 * can prove clk_5l35023b_register_dump() issues one single-byte read
 * transaction per register rather than a single combined multi-byte burst
 * -- the whole reason that function exists instead of a plain multi-byte
 * i2c_burst_read() (see the driver's file-level comment on the RZ/V2N
 * i2c-riic multi-byte-read corruption it works around).
 *
 * GENERAL_CTRL (0x00) POR value encodes strap_field = 2 (bits[6:5]),
 * matching the fixed I2C address 0x6A this fake answers on -- the driver's
 * own init() ACK-probe compares this field against the address the caller
 * asked for.
 */

#define DT_DRV_COMPAT alp_fake_clk_5l35023b

#include <errno.h>
#include <string.h>

#include <zephyr/device.h>
#include <zephyr/devicetree.h>
#include <zephyr/drivers/emul.h>
#include <zephyr/drivers/i2c.h>
#include <zephyr/drivers/i2c_emul.h>

#include "fakes.h"

#define REG_GENERAL_CTRL 0x00u

#define XFER_LOG_CAP 16

struct fake_clk_5l35023b_data {
	uint8_t regs[256];
	uint8_t read_len_log[XFER_LOG_CAP];
	size_t  read_log_len;
};

static struct fake_clk_5l35023b_data *g_fake;

static void seed_defaults(struct fake_clk_5l35023b_data *d)
{
	memset(d->regs, 0, sizeof d->regs);
	d->regs[REG_GENERAL_CTRL] = (uint8_t)(2u << 5); /* strap_field 2 -> addr 0x6A */
	d->read_log_len           = 0;
}

static int
fake_clk_5l35023b_transfer(const struct emul *target, struct i2c_msg *msgs, int num_msgs, int addr)
{
	(void)addr;
	struct fake_clk_5l35023b_data *d = target->data;

	if (num_msgs == 1 && (msgs[0].flags & I2C_MSG_READ) == 0) {
		/* Plain write: [reg, val]. */
		if (msgs[0].len != 2) return -EIO;
		d->regs[msgs[0].buf[0]] = msgs[0].buf[1];
		return 0;
	}
	if (num_msgs == 2 && (msgs[0].flags & I2C_MSG_READ) == 0 &&
	    (msgs[1].flags & I2C_MSG_READ) != 0) {
		/* Register read: [reg]; then read len bytes -- logged so the
		 * ztest can assert the exact shape of every transaction. */
		if (msgs[0].len != 1) return -EIO;
		if (d->read_log_len < XFER_LOG_CAP) {
			d->read_len_log[d->read_log_len++] = (uint8_t)msgs[1].len;
		}
		const uint8_t reg0 = msgs[0].buf[0];
		for (uint32_t i = 0; i < msgs[1].len; i++) {
			msgs[1].buf[i] = d->regs[(uint8_t)(reg0 + i)];
		}
		return 0;
	}
	return -EIO;
}

static const struct i2c_emul_api fake_clk_5l35023b_api = {
	.transfer = fake_clk_5l35023b_transfer,
};

static int fake_clk_5l35023b_init(const struct emul *target, const struct device *parent)
{
	(void)parent;
	struct fake_clk_5l35023b_data *d = target->data;
	g_fake                           = d;
	seed_defaults(d);
	return 0;
}

/* Bare placeholder device -- see fake_rv3028c7.c's comment above its
 * FAKE_RV3028C7_DEFINE for why this is needed (alp-sdk chip drivers are
 * hand-rolled, not Zephyr `device` drivers, so there is no companion
 * DEVICE_DT_*_DEFINE() elsewhere for this node). */
#define FAKE_CLK_5L35023B_DEFINE(n) \
	static struct fake_clk_5l35023b_data fake_clk_5l35023b_data_##n; \
	DEVICE_DT_INST_DEFINE(n, NULL, NULL, NULL, NULL, POST_KERNEL, 90, NULL); \
	EMUL_DT_INST_DEFINE(n, \
	                    fake_clk_5l35023b_init, \
	                    &fake_clk_5l35023b_data_##n, \
	                    NULL, \
	                    &fake_clk_5l35023b_api, \
	                    NULL);

DT_INST_FOREACH_STATUS_OKAY(FAKE_CLK_5L35023B_DEFINE)

/* ------------------------------------------------------------------ */
/* Test-side inspection API                                             */
/* ------------------------------------------------------------------ */

void fake_clk_5l35023b_set_reg(uint8_t reg, uint8_t val)
{
	if (g_fake) g_fake->regs[reg] = val;
}

size_t fake_clk_5l35023b_read_log_len(void)
{
	return g_fake ? g_fake->read_log_len : 0u;
}

uint8_t fake_clk_5l35023b_read_log_at(size_t i)
{
	return g_fake ? g_fake->read_len_log[i] : 0u;
}

void fake_clk_5l35023b_reset(void)
{
	if (g_fake) seed_defaults(g_fake);
}
```

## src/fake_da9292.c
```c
/*
 * Copyright 2026 Alp Lab AB
 * SPDX-License-Identifier: Apache-2.0
 *
 * Fake Renesas DA9292 i2c-emul target (7-bit 0x1E).  Stateful, so the
 * CH2 DEEPX-rail sequence can run end to end:
 *   - POR image = the V2N OTP variant as the bench reads it: DEV_ID
 *     0xEA, REV_ID 0x42, CFG_REV 0x11, CTRL_01 0x81 (CH2_VSTEP=1,
 *     CH1_EN=1), CH2 VSEL_LO/HI 0xB4/0x9A (1.80 V / 1.54 V at VSTEP=1),
 *     CH1 VSEL 0xA0 (0.800 V), STATUS_00 = CH1_PG.
 *   - CTRL_01: a CHx_VSTEP change is ignored while CHx_EN is 1 BEFORE
 *     the write (the datasheet only allows VSTEP to move with the
 *     channel off).  CH2_EN 0->1 arms CH2_PG to assert on the Nth
 *     STATUS_00 read (fake_da9292_set_pg_delay; UINT32_MAX = never);
 *     CH2_EN 1->0 drops CH2_PG.
 *   - EVENT_00/01 are write-1-to-clear; STATUS and ID are read-only.
 * Every write (applied or ignored) is logged in order, so a test can
 * assert what the driver ASKED for, e.g. "no CTRL_01 write ever cleared
 * CH2_EN".
 */

#define DT_DRV_COMPAT alp_fake_da9292

#include <errno.h>
#include <string.h>

#include <zephyr/device.h>
#include <zephyr/devicetree.h>
#include <zephyr/drivers/emul.h>
#include <zephyr/drivers/i2c.h>
#include <zephyr/drivers/i2c_emul.h>

#include "fakes.h"

#define REG_STATUS_00 0x00u
#define REG_STATUS_01 0x01u
#define REG_EVENT_00  0x02u
#define REG_EVENT_01  0x03u
#define REG_CTRL_01   0x07u

#define CTRL_CH2_VSTEP 0x80u
#define CTRL_CH1_VSTEP 0x40u
#define CTRL_CH2_EN    0x02u
#define CTRL_CH1_EN    0x01u
#define STATUS_CH2_PG  0x02u
#define STATUS_CH1_PG  0x01u

static uint8_t                  g_regs[256];
static uint32_t                 g_write_count[256];
static struct fake_da9292_write g_log[FAKE_DA9292_LOG_MAX];
static size_t                   g_log_len;
static uint32_t                 g_pg_delay;     /* STATUS_00 reads until CH2_PG */
static uint32_t                 g_pg_countdown; /* live countdown while pending */
static bool                     g_pg_pending;

static void write_ctrl_01(uint8_t val)
{
	const uint8_t old = g_regs[REG_CTRL_01];
	uint8_t       nv  = val;

	/* VSTEP only moves while its channel is off. */
	if ((old & CTRL_CH2_EN) != 0u)
		nv = (uint8_t)((nv & (uint8_t)~CTRL_CH2_VSTEP) | (old & CTRL_CH2_VSTEP));
	if ((old & CTRL_CH1_EN) != 0u)
		nv = (uint8_t)((nv & (uint8_t)~CTRL_CH1_VSTEP) | (old & CTRL_CH1_VSTEP));

	if ((old & CTRL_CH2_EN) == 0u && (nv & CTRL_CH2_EN) != 0u) {
		g_pg_pending   = g_pg_delay != UINT32_MAX;
		g_pg_countdown = g_pg_delay;
	} else if ((old & CTRL_CH2_EN) != 0u && (nv & CTRL_CH2_EN) == 0u) {
		g_pg_pending = false;
		g_regs[REG_STATUS_00] &= (uint8_t)~STATUS_CH2_PG;
	}
	g_regs[REG_CTRL_01] = nv;
}

static void write_reg(uint8_t reg, uint8_t val)
{
	g_write_count[reg]++;
	if (g_log_len < FAKE_DA9292_LOG_MAX)
		g_log[g_log_len++] = (struct fake_da9292_write){ reg, val };

	switch (reg) {
	case REG_STATUS_00:
	case REG_STATUS_01:
	case 0x19u: /* DEV_ID */
	case 0x1Au: /* REV_ID */
	case 0x1Bu: /* CFG_REV */
		break;  /* read-only */
	case REG_EVENT_00:
	case REG_EVENT_01:
		g_regs[reg] &= (uint8_t)~val; /* W1C */
		break;
	case REG_CTRL_01:
		write_ctrl_01(val);
		break;
	default:
		g_regs[reg] = val;
		break;
	}
}

static uint8_t read_reg(uint8_t reg)
{
	if (reg == REG_STATUS_00 && g_pg_pending) {
		if (g_pg_countdown == 0u) {
			g_regs[REG_STATUS_00] |= STATUS_CH2_PG;
			g_pg_pending = false;
		} else {
			g_pg_countdown--;
		}
	}
	return g_regs[reg];
}

static int
fake_da9292_transfer(const struct emul *target, struct i2c_msg *msgs, int num_msgs, int addr)
{
	(void)target;
	(void)addr;

	if (num_msgs == 1 && (msgs[0].flags & I2C_MSG_READ) == 0) {
		if (msgs[0].len < 2) return -EIO;
		for (uint32_t i = 1; i < msgs[0].len; i++) {
			write_reg((uint8_t)(msgs[0].buf[0] + i - 1u), msgs[0].buf[i]);
		}
		return 0;
	}
	if (num_msgs == 2 && (msgs[0].flags & I2C_MSG_READ) == 0 &&
	    (msgs[1].flags & I2C_MSG_READ) != 0) {
		if (msgs[0].len < 1) return -EIO;
		for (uint32_t i = 0; i < msgs[1].len; i++) {
			msgs[1].buf[i] = read_reg((uint8_t)(msgs[0].buf[0] + i));
		}
		return 0;
	}
	return -EIO;
}

static const struct i2c_emul_api fake_da9292_api = {
	.transfer = fake_da9292_transfer,
};

static int fake_da9292_init(const struct emul *target, const struct device *parent)
{
	(void)target;
	(void)parent;
	fake_da9292_reset();
	return 0;
}

/* See fake_rv3028c7.c's comment above its FAKE_RV3028C7_DEFINE for
 * why this bare placeholder device is needed. */
#define FAKE_DA9292_DEFINE(n) \
	DEVICE_DT_INST_DEFINE(n, NULL, NULL, NULL, NULL, POST_KERNEL, 90, NULL); \
	EMUL_DT_INST_DEFINE(n, fake_da9292_init, NULL, NULL, &fake_da9292_api, NULL);

DT_INST_FOREACH_STATUS_OKAY(FAKE_DA9292_DEFINE)

/* ------------------------------------------------------------------ */
/* Test-side inspection API                                             */
/* ------------------------------------------------------------------ */

uint8_t fake_da9292_get_reg(uint8_t reg)
{
	return g_regs[reg];
}

void fake_da9292_force_reg(uint8_t reg, uint8_t val)
{
	g_regs[reg] = val;
}

uint32_t fake_da9292_write_count(uint8_t reg)
{
	return g_write_count[reg];
}

size_t fake_da9292_log_len(void)
{
	return g_log_len;
}

const struct fake_da9292_write *fake_da9292_log(size_t i)
{
	return i < g_log_len ? &g_log[i] : NULL;
}

void fake_da9292_log_reset(void)
{
	g_log_len = 0;
	memset(g_write_count, 0, sizeof g_write_count);
}

void fake_da9292_set_pg_delay(uint32_t reads)
{
	g_pg_delay = reads;
}

void fake_da9292_reset(void)
{
	memset(g_regs, 0, sizeof g_regs);
	g_regs[REG_STATUS_00] = STATUS_CH1_PG;
	g_regs[REG_CTRL_01]   = CTRL_CH2_VSTEP | CTRL_CH1_EN;
	g_regs[0x0Au]         = 0xA0u; /* CH1 VSEL_LO 0.800 V */
	g_regs[0x0Bu]         = 0xA0u; /* CH1 VSEL_HI */
	g_regs[0x0Cu]         = 0xB4u; /* CH2 VSEL_LO 1.80 V at VSTEP=1 */
	g_regs[0x0Du]         = 0x9Au; /* CH2 VSEL_HI 1.54 V at VSTEP=1 */
	g_regs[0x19u]         = 0xEAu;
	g_regs[0x1Au]         = 0x42u;
	g_regs[0x1Bu]         = 0x11u;
	g_pg_delay            = 2u;
	g_pg_pending          = false;
	g_pg_countdown        = 0u;
	fake_da9292_log_reset();
}
```
